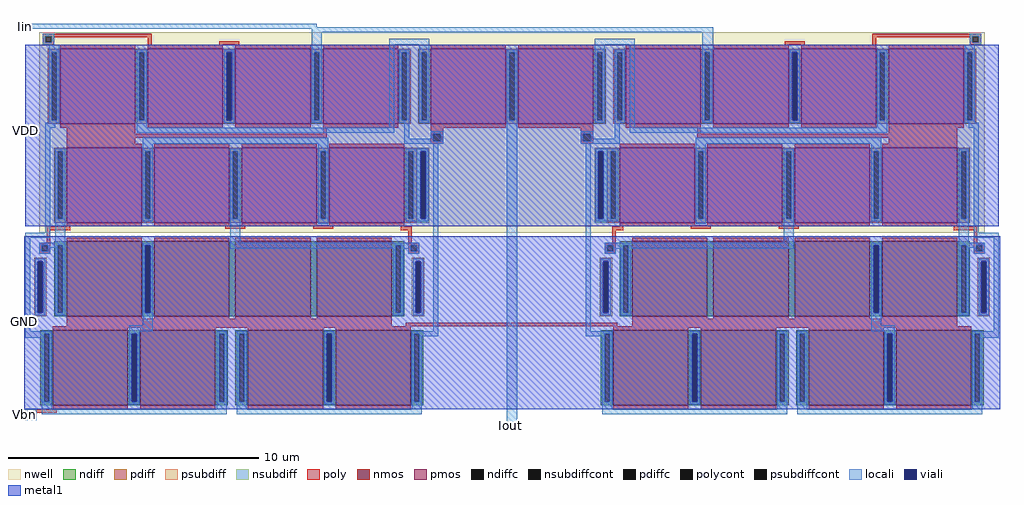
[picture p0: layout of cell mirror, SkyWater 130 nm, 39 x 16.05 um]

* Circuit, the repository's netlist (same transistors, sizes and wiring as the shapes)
* SPICE3 file created from mirror.ext - technology: sky130A

.subckt mirror Iin Iout Vbn VDD GND
X0 a_1220_n60# Vbn a_570_n60# GND sky130_fd_pr__nfet_01v8 ad=0.375 pd=3.25 as=0.375 ps=3.25 w=3 l=3
X1 a_n30_660# Vbn a_1220_n60# GND sky130_fd_pr__nfet_01v8 ad=1.5 pd=7 as=0.375 ps=3.25 w=3 l=3
X2 VDD a_n940_n770# a_n180_1480# VDD sky130_fd_pr__pfet_01v8 ad=0.75 pd=3.5 as=0.75 ps=3.5 w=3 l=3
X3 a_n30_660# a_n30_660# a_n130_690# VDD sky130_fd_pr__pfet_01v8 ad=0.75 pd=3.5 as=0.75 ps=3.5 w=3 l=3
X4 a_3740_1450# Vbn GND GND sky130_fd_pr__nfet_01v8 ad=1.5 pd=7 as=0.75 ps=3.5 w=3 l=3
X5 a_2880_1450# Vbn GND GND sky130_fd_pr__nfet_01v8 ad=1.5 pd=7 as=0.75 ps=3.5 w=3 l=3
X6 a_n130_690# a_n950_440# a_n950_440# VDD sky130_fd_pr__pfet_01v8 ad=0.75 pd=3.5 as=1.5 ps=7 w=3 l=3
X7 GND Vbn a_5040_n60# GND sky130_fd_pr__nfet_01v8 ad=0.75 pd=3.5 as=0.375 ps=3.25 w=3 l=3
X8 Iin a_3740_1450# a_2880_1450# VDD sky130_fd_pr__pfet_01v8 ad=0.75 pd=3.5 as=1.5 ps=7 w=3 l=3
X9 a_3570_440# a_3570_440# a_4290_690# VDD sky130_fd_pr__pfet_01v8 ad=0.75 pd=3.5 as=0.75 ps=3.5 w=3 l=3
X10 a_n940_n770# Vbn GND GND sky130_fd_pr__nfet_01v8 ad=1.5 pd=7 as=0.75 ps=3.5 w=3 l=3
X11 a_570_n60# Vbn GND GND sky130_fd_pr__nfet_01v8 ad=0.375 pd=3.25 as=0.75 ps=3.5 w=3 l=3
X12 GND Vbn a_n950_440# GND sky130_fd_pr__nfet_01v8 ad=0.75 pd=3.5 as=1.5 ps=7 w=3 l=3
X13 a_3480_1480# a_4440_1450# VDD VDD sky130_fd_pr__pfet_01v8 ad=0.75 pd=3.5 as=0.75 ps=3.5 w=3 l=3
X14 a_5040_n60# Vbn a_4390_n60# GND sky130_fd_pr__nfet_01v8 ad=0.375 pd=3.25 as=0.375 ps=3.25 w=3 l=3
X15 a_n130_690# a_n30_660# a_n30_660# VDD sky130_fd_pr__pfet_01v8 ad=0.75 pd=3.5 as=0.75 ps=3.5 w=3 l=3
X16 VDD a_n30_660# a_n130_690# VDD sky130_fd_pr__pfet_01v8 ad=1.5 pd=7 as=0.75 ps=3.5 w=3 l=3
X17 GND Vbn a_620_n770# GND sky130_fd_pr__nfet_01v8 ad=0.75 pd=3.5 as=1.5 ps=7 w=3 l=3
X18 GND Vbn a_2880_1450# GND sky130_fd_pr__nfet_01v8 ad=0.75 pd=3.5 as=1.5 ps=7 w=3 l=3
X19 GND Vbn a_4440_1450# GND sky130_fd_pr__nfet_01v8 ad=0.75 pd=3.5 as=1.5 ps=7 w=3 l=3
X20 a_n180_1480# a_n950_440# a_n940_n770# VDD sky130_fd_pr__pfet_01v8 ad=0.75 pd=3.5 as=1.5 ps=7 w=3 l=3
X21 Iout a_620_n770# a_n180_1480# VDD sky130_fd_pr__pfet_01v8 ad=0.75 pd=3.5 as=1.5 ps=7 w=3 l=3
X22 a_4390_n60# Vbn a_3570_440# GND sky130_fd_pr__nfet_01v8 ad=0.375 pd=3.25 as=1.5 ps=7 w=3 l=3
X23 GND Vbn a_n940_n770# GND sky130_fd_pr__nfet_01v8 ad=0.75 pd=3.5 as=1.5 ps=7 w=3 l=3
X24 a_4290_690# a_3570_440# VDD VDD sky130_fd_pr__pfet_01v8 ad=0.75 pd=3.5 as=1.5 ps=7 w=3 l=3
X25 Iin a_n940_n770# VDD VDD sky130_fd_pr__pfet_01v8 ad=0.75 pd=3.5 as=0.75 ps=3.5 w=3 l=3
X26 a_4440_1450# a_3740_1450# a_3480_1480# VDD sky130_fd_pr__pfet_01v8 ad=1.5 pd=7 as=0.75 ps=3.5 w=3 l=3
X27 a_620_n770# Vbn GND GND sky130_fd_pr__nfet_01v8 ad=1.5 pd=7 as=0.75 ps=3.5 w=3 l=3
X28 a_4440_1450# Vbn GND GND sky130_fd_pr__nfet_01v8 ad=1.5 pd=7 as=0.75 ps=3.5 w=3 l=3
X29 VDD a_4440_1450# Iin VDD sky130_fd_pr__pfet_01v8 ad=0.75 pd=3.5 as=0.75 ps=3.5 w=3 l=3
X30 a_3740_1450# a_3740_1450# a_4290_690# VDD sky130_fd_pr__pfet_01v8 ad=1.5 pd=7 as=0.75 ps=3.5 w=3 l=3
X31 a_3480_1480# a_2880_1450# Iout VDD sky130_fd_pr__pfet_01v8 ad=1.5 pd=7 as=0.75 ps=3.5 w=3 l=3
X32 a_4290_690# a_3570_440# a_3570_440# VDD sky130_fd_pr__pfet_01v8 ad=0.75 pd=3.5 as=0.75 ps=3.5 w=3 l=3
X33 a_620_n770# a_n950_440# Iin VDD sky130_fd_pr__pfet_01v8 ad=1.5 pd=7 as=0.75 ps=3.5 w=3 l=3
.ends

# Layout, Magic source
magic
tech sky130A
magscale 1 2
<< nwell >>
rect -950 610 6610 2210
<< nmos >>
rect -730 -60 -130 540
rect -30 -60 570 540
rect 620 -60 1220 540
rect 1270 -60 1870 540
rect 3790 -60 4390 540
rect 4440 -60 5040 540
rect 5090 -60 5690 540
rect 5790 -60 6390 540
rect -840 -770 -240 -170
rect -140 -770 460 -170
rect 720 -770 1320 -170
rect 1420 -770 2020 -170
rect 3640 -770 4240 -170
rect 4340 -770 4940 -170
rect 5200 -770 5800 -170
rect 5900 -770 6500 -170
<< pmos >>
rect -780 1480 -180 2080
rect -80 1480 520 2080
rect 620 1480 1220 2080
rect 1320 1480 1920 2080
rect 2180 1480 2780 2080
rect 2880 1480 3480 2080
rect 3740 1480 4340 2080
rect 4440 1480 5040 2080
rect 5140 1480 5740 2080
rect 5840 1480 6440 2080
rect -730 690 -130 1290
rect -30 690 570 1290
rect 670 690 1270 1290
rect 1370 690 1970 1290
rect 3690 690 4290 1290
rect 4390 690 4990 1290
rect 5090 690 5690 1290
rect 5790 690 6390 1290
<< ndiff >>
rect -830 510 -730 540
rect -830 -30 -800 510
rect -760 -30 -730 510
rect -830 -60 -730 -30
rect -130 510 -30 540
rect -130 -30 -100 510
rect -60 -30 -30 510
rect -130 -60 -30 -30
rect 570 -60 620 540
rect 1220 -60 1270 540
rect 1870 510 1970 540
rect 1870 -30 1900 510
rect 1940 -30 1970 510
rect 3690 510 3790 540
rect 1870 -60 1970 -30
rect 3690 -30 3720 510
rect 3760 -30 3790 510
rect 3690 -60 3790 -30
rect 4390 -60 4440 540
rect 5040 -60 5090 540
rect 5690 510 5790 540
rect 5690 -30 5720 510
rect 5760 -30 5790 510
rect 5690 -60 5790 -30
rect 6390 510 6490 540
rect 6390 -30 6420 510
rect 6460 -30 6490 510
rect 6390 -60 6490 -30
rect -940 -200 -840 -170
rect -940 -740 -910 -200
rect -870 -740 -840 -200
rect -940 -770 -840 -740
rect -240 -200 -140 -170
rect -240 -740 -210 -200
rect -170 -740 -140 -200
rect -240 -770 -140 -740
rect 460 -200 560 -170
rect 460 -740 490 -200
rect 530 -740 560 -200
rect 460 -770 560 -740
rect 620 -200 720 -170
rect 620 -740 650 -200
rect 690 -740 720 -200
rect 620 -770 720 -740
rect 1320 -200 1420 -170
rect 1320 -740 1350 -200
rect 1390 -740 1420 -200
rect 1320 -770 1420 -740
rect 2020 -200 2120 -170
rect 2020 -740 2050 -200
rect 2090 -740 2120 -200
rect 2020 -770 2120 -740
rect 3540 -200 3640 -170
rect 3540 -740 3570 -200
rect 3610 -740 3640 -200
rect 3540 -770 3640 -740
rect 4240 -200 4340 -170
rect 4240 -740 4270 -200
rect 4310 -740 4340 -200
rect 4240 -770 4340 -740
rect 4940 -200 5040 -170
rect 4940 -740 4970 -200
rect 5010 -740 5040 -200
rect 4940 -770 5040 -740
rect 5100 -200 5200 -170
rect 5100 -740 5130 -200
rect 5170 -740 5200 -200
rect 5100 -770 5200 -740
rect 5800 -200 5900 -170
rect 5800 -740 5830 -200
rect 5870 -740 5900 -200
rect 5800 -770 5900 -740
rect 6500 -200 6600 -170
rect 6500 -740 6530 -200
rect 6570 -740 6600 -200
rect 6500 -770 6600 -740
<< pdiff >>
rect -880 2050 -780 2080
rect -880 1510 -850 2050
rect -810 1510 -780 2050
rect -880 1480 -780 1510
rect -180 2050 -80 2080
rect -180 1510 -150 2050
rect -110 1510 -80 2050
rect -180 1480 -80 1510
rect 520 2050 620 2080
rect 520 1510 550 2050
rect 590 1510 620 2050
rect 520 1480 620 1510
rect 1220 2050 1320 2080
rect 1220 1510 1250 2050
rect 1290 1510 1320 2050
rect 1220 1480 1320 1510
rect 1920 2050 2020 2080
rect 1920 1510 1950 2050
rect 1990 1510 2020 2050
rect 1920 1480 2020 1510
rect 2080 2050 2180 2080
rect 2080 1510 2110 2050
rect 2150 1510 2180 2050
rect 2080 1480 2180 1510
rect 2780 2050 2880 2080
rect 2780 1510 2810 2050
rect 2850 1510 2880 2050
rect 2780 1480 2880 1510
rect 3480 2050 3580 2080
rect 3480 1510 3510 2050
rect 3550 1510 3580 2050
rect 3480 1480 3580 1510
rect 3640 2050 3740 2080
rect 3640 1510 3670 2050
rect 3710 1510 3740 2050
rect 3640 1480 3740 1510
rect 4340 2050 4440 2080
rect 4340 1510 4370 2050
rect 4410 1510 4440 2050
rect 4340 1480 4440 1510
rect 5040 2050 5140 2080
rect 5040 1510 5070 2050
rect 5110 1510 5140 2050
rect 5040 1480 5140 1510
rect 5740 2050 5840 2080
rect 5740 1510 5770 2050
rect 5810 1510 5840 2050
rect 5740 1480 5840 1510
rect 6440 2050 6540 2080
rect 6440 1510 6470 2050
rect 6510 1510 6540 2050
rect 6440 1480 6540 1510
rect -830 1260 -730 1290
rect -830 720 -800 1260
rect -760 720 -730 1260
rect -830 690 -730 720
rect -130 1260 -30 1290
rect -130 720 -100 1260
rect -60 720 -30 1260
rect -130 690 -30 720
rect 570 1260 670 1290
rect 570 720 600 1260
rect 640 720 670 1260
rect 570 690 670 720
rect 1270 1260 1370 1290
rect 1270 720 1300 1260
rect 1340 720 1370 1260
rect 1270 690 1370 720
rect 1970 1260 2070 1290
rect 1970 720 2000 1260
rect 2040 720 2070 1260
rect 1970 690 2070 720
rect 3590 1260 3690 1290
rect 3590 720 3620 1260
rect 3660 720 3690 1260
rect 3590 690 3690 720
rect 4290 1260 4390 1290
rect 4290 720 4320 1260
rect 4360 720 4390 1260
rect 4290 690 4390 720
rect 4990 1260 5090 1290
rect 4990 720 5020 1260
rect 5060 720 5090 1260
rect 4990 690 5090 720
rect 5690 1260 5790 1290
rect 5690 720 5720 1260
rect 5760 720 5790 1260
rect 5690 690 5790 720
rect 6390 1260 6490 1290
rect 6390 720 6420 1260
rect 6460 720 6490 1260
rect 6390 690 6490 720
<< ndiffc >>
rect -800 -30 -760 510
rect -100 -30 -60 510
rect 1900 -30 1940 510
rect 3720 -30 3760 510
rect 5720 -30 5760 510
rect 6420 -30 6460 510
rect -910 -740 -870 -200
rect -210 -740 -170 -200
rect 490 -740 530 -200
rect 650 -740 690 -200
rect 1350 -740 1390 -200
rect 2050 -740 2090 -200
rect 3570 -740 3610 -200
rect 4270 -740 4310 -200
rect 4970 -740 5010 -200
rect 5130 -740 5170 -200
rect 5830 -740 5870 -200
rect 6530 -740 6570 -200
<< pdiffc >>
rect -850 1510 -810 2050
rect -150 1510 -110 2050
rect 550 1510 590 2050
rect 1250 1510 1290 2050
rect 1950 1510 1990 2050
rect 2110 1510 2150 2050
rect 2810 1510 2850 2050
rect 3510 1510 3550 2050
rect 3670 1510 3710 2050
rect 4370 1510 4410 2050
rect 5070 1510 5110 2050
rect 5770 1510 5810 2050
rect 6470 1510 6510 2050
rect -800 720 -760 1260
rect -100 720 -60 1260
rect 600 720 640 1260
rect 1300 720 1340 1260
rect 2000 720 2040 1260
rect 3620 720 3660 1260
rect 4320 720 4360 1260
rect 5020 720 5060 1260
rect 5720 720 5760 1260
rect 6420 720 6460 1260
<< psubdiff >>
rect -990 380 -890 410
rect -990 -30 -960 380
rect -920 -30 -890 380
rect -990 -60 -890 -30
rect 2030 380 2130 410
rect 2030 -30 2060 380
rect 2100 -30 2130 380
rect 2030 -60 2130 -30
rect 3530 380 3630 410
rect 3530 -30 3560 380
rect 3600 -30 3630 380
rect 3530 -60 3630 -30
rect 6550 380 6650 410
rect 6550 -30 6580 380
rect 6620 -30 6650 380
rect 6550 -60 6650 -30
<< nsubdiff >>
rect 2070 1260 2170 1290
rect 2070 720 2100 1260
rect 2140 720 2170 1260
rect 2070 690 2170 720
rect 3490 1260 3590 1290
rect 3490 720 3520 1260
rect 3560 720 3590 1260
rect 3490 690 3590 720
<< psubdiffcont >>
rect -960 -30 -920 380
rect 2060 -30 2100 380
rect 3560 -30 3600 380
rect 6580 -30 6620 380
<< nsubdiffcont >>
rect 2100 720 2140 1260
rect 3520 720 3560 1260
<< poly >>
rect -920 2180 -50 2200
rect -920 2130 -900 2180
rect -850 2170 -50 2180
rect -850 2130 -830 2170
rect -920 2110 -830 2130
rect -80 2110 -50 2170
rect 5710 2180 6580 2200
rect 5710 2170 6510 2180
rect 490 2110 650 2140
rect 5010 2110 5170 2140
rect 5710 2110 5740 2170
rect 6490 2130 6510 2170
rect 6560 2130 6580 2180
rect 6490 2110 6580 2130
rect -780 2080 -180 2110
rect -80 2080 520 2110
rect 620 2080 1220 2110
rect 1320 2080 1920 2110
rect 2180 2080 2780 2110
rect 2880 2080 3480 2110
rect 3740 2080 4340 2110
rect 4440 2080 5040 2110
rect 5140 2080 5740 2110
rect 5840 2080 6440 2110
rect -780 1450 -180 1480
rect -80 1450 520 1480
rect 620 1450 1220 1480
rect 1320 1450 1920 1480
rect 2180 1450 2780 1480
rect 2880 1450 3480 1480
rect 3740 1450 4340 1480
rect 4440 1450 5040 1480
rect 5140 1450 5740 1480
rect 5840 1450 6440 1480
rect -730 1400 -180 1450
rect 1320 1400 1350 1450
rect -730 1370 1350 1400
rect 2180 1400 2280 1450
rect -730 1320 -180 1370
rect 2180 1340 2200 1400
rect 2260 1340 2280 1400
rect 2180 1320 2280 1340
rect 3380 1400 3480 1450
rect 3380 1340 3400 1400
rect 3460 1340 3480 1400
rect 4310 1400 4340 1450
rect 5840 1400 6390 1450
rect 4310 1370 6390 1400
rect 3380 1320 3480 1340
rect 5840 1320 6390 1370
rect -730 1290 -130 1320
rect -30 1290 570 1320
rect 670 1290 1270 1320
rect 1370 1290 1970 1320
rect 3690 1290 4290 1320
rect 4390 1290 4990 1320
rect 5090 1290 5690 1320
rect 5790 1290 6390 1320
rect -730 660 -130 690
rect -30 670 570 690
rect 670 670 1270 690
rect 1370 670 1970 690
rect -30 660 1970 670
rect 3690 670 4290 690
rect 4390 670 4990 690
rect 5090 670 5690 690
rect 3690 660 5690 670
rect 5790 660 6390 690
rect -890 630 -700 660
rect 540 640 700 660
rect 1240 640 1400 660
rect 1940 630 2030 660
rect -890 530 -860 630
rect -730 540 -130 570
rect -30 540 570 570
rect 620 540 1220 570
rect 1270 540 1870 570
rect -950 510 -860 530
rect -950 460 -930 510
rect -880 460 -860 510
rect -950 440 -860 460
rect 2000 530 2030 630
rect 3630 630 3720 660
rect 4260 640 4420 660
rect 4960 640 5120 660
rect 6360 630 6550 660
rect 3630 530 3660 630
rect 3790 540 4390 570
rect 4440 540 5040 570
rect 5090 540 5690 570
rect 5790 540 6390 570
rect 2000 510 2090 530
rect 2000 460 2020 510
rect 2070 460 2090 510
rect 2000 440 2090 460
rect 3570 510 3660 530
rect 3570 460 3590 510
rect 3640 460 3660 510
rect 3570 440 3660 460
rect 6520 530 6550 630
rect 6520 510 6610 530
rect 6520 460 6540 510
rect 6590 460 6610 510
rect 6520 440 6610 460
rect -730 -80 -130 -60
rect -30 -80 570 -60
rect 620 -80 1220 -60
rect 1270 -80 1870 -60
rect -730 -140 1870 -80
rect 3790 -80 4390 -60
rect 4440 -80 5040 -60
rect 5090 -80 5690 -60
rect 5790 -80 6390 -60
rect 1980 -140 3670 -110
rect 3790 -140 6390 -80
rect -840 -150 2020 -140
rect -840 -170 -240 -150
rect -140 -170 460 -150
rect 720 -170 1320 -150
rect 1420 -170 2020 -150
rect 3640 -150 6500 -140
rect 3640 -170 4240 -150
rect 4340 -170 4940 -150
rect 5200 -170 5800 -150
rect 5900 -170 6500 -150
rect -840 -800 -240 -770
rect -140 -800 460 -770
rect 720 -800 1320 -770
rect 1420 -800 2020 -770
rect 3640 -800 4240 -770
rect 4340 -800 4940 -770
rect 5200 -800 5800 -770
rect 5900 -800 6500 -770
rect -1060 -820 -810 -800
rect -1060 -870 -1040 -820
rect -990 -830 -810 -820
rect -990 -870 -970 -830
rect -1060 -890 -970 -870
<< polycont >>
rect -900 2130 -850 2180
rect 6510 2130 6560 2180
rect 2200 1340 2260 1400
rect 3400 1340 3460 1400
rect -930 460 -880 510
rect 2020 460 2070 510
rect 3590 460 3640 510
rect 6540 460 6590 510
rect -1040 -870 -990 -820
<< locali >>
rect -1060 2250 1270 2280
rect -1060 2240 4440 2250
rect 1230 2210 4440 2240
rect -920 2180 -830 2200
rect -920 2130 -900 2180
rect -850 2130 -830 2180
rect -920 2110 -830 2130
rect -870 2050 -790 2110
rect -870 1510 -850 2050
rect -810 1510 -790 2050
rect -870 1490 -790 1510
rect -170 2050 -90 2070
rect -170 1510 -150 2050
rect -110 1510 -90 2050
rect -900 1450 -820 1490
rect -170 1450 -90 1510
rect 530 2050 610 2070
rect 530 1510 550 2050
rect 590 1510 610 2050
rect 530 1490 610 1510
rect 1230 2050 1310 2210
rect 1230 1510 1250 2050
rect 1290 1510 1310 2050
rect 1230 1490 1310 1510
rect 1850 2110 2170 2160
rect 1850 1450 1890 2110
rect 1930 2050 2010 2070
rect 1930 1510 1950 2050
rect 1990 1510 2010 2050
rect 1930 1490 2010 1510
rect 2090 2050 2170 2110
rect 3490 2110 3810 2160
rect 2090 1510 2110 2050
rect 2150 1510 2170 2050
rect 2090 1490 2170 1510
rect 2790 2050 2870 2070
rect 2790 1510 2810 2050
rect 2850 1510 2870 2050
rect -900 610 -860 1450
rect -170 1410 1890 1450
rect -120 1321 1360 1370
rect -1060 570 -860 610
rect -820 1260 -740 1280
rect -820 720 -800 1260
rect -760 720 -740 1260
rect -1060 -180 -1020 570
rect -820 530 -740 720
rect -120 1260 -40 1321
rect -120 720 -100 1260
rect -60 720 -40 1260
rect -120 700 -40 720
rect 580 1260 660 1280
rect 580 720 600 1260
rect 640 720 660 1260
rect 580 530 660 720
rect 1280 1260 1360 1321
rect 1970 1360 2010 1490
rect 2180 1400 2280 1420
rect 2180 1360 2200 1400
rect 1970 1340 2200 1360
rect 2260 1340 2280 1400
rect 1970 1320 2280 1340
rect 1280 720 1300 1260
rect 1340 720 1360 1260
rect 1280 680 1360 720
rect 1980 1260 2160 1280
rect 1980 720 2000 1260
rect 2040 720 2100 1260
rect 2140 720 2160 1260
rect 1980 700 2160 720
rect -950 510 -740 530
rect -950 460 -930 510
rect -880 490 -800 510
rect -880 460 -860 490
rect -950 440 -860 460
rect -980 380 -900 400
rect -980 -30 -960 380
rect -920 -30 -900 380
rect -980 -50 -900 -30
rect -820 -30 -800 490
rect -760 -30 -740 510
rect -820 -50 -740 -30
rect -120 510 -40 530
rect -120 -30 -100 510
rect -60 -30 -40 510
rect 580 510 2090 530
rect 580 480 1900 510
rect -120 -130 -40 -30
rect 1880 -30 1900 480
rect 1940 480 2020 510
rect 1940 -30 1960 480
rect 2000 460 2020 480
rect 2070 460 2090 510
rect 2000 440 2090 460
rect 1880 -50 1960 -30
rect 2040 380 2120 400
rect 2040 -30 2060 380
rect 2100 -30 2120 380
rect 2040 -50 2120 -30
rect -230 -180 -40 -130
rect 2200 -180 2240 1320
rect -1060 -200 -850 -180
rect -1060 -230 -910 -200
rect -930 -740 -910 -230
rect -870 -740 -850 -200
rect -930 -800 -850 -740
rect -230 -200 -150 -180
rect -230 -740 -210 -200
rect -170 -740 -150 -200
rect -230 -760 -150 -740
rect 470 -200 550 -180
rect 470 -740 490 -200
rect 530 -740 550 -200
rect 470 -800 550 -740
rect -1070 -820 -970 -800
rect -1070 -870 -1040 -820
rect -990 -870 -970 -820
rect -930 -840 550 -800
rect 630 -200 710 -180
rect 630 -740 650 -200
rect 690 -740 710 -200
rect 630 -800 710 -740
rect 1330 -200 1410 -180
rect 1330 -740 1350 -200
rect 1390 -740 1410 -200
rect 1330 -760 1410 -740
rect 2030 -200 2240 -180
rect 2030 -740 2050 -200
rect 2090 -220 2240 -200
rect 2090 -740 2110 -220
rect 2030 -800 2110 -740
rect 630 -840 2110 -800
rect -1070 -890 -970 -870
rect 2790 -930 2870 1510
rect 3490 2050 3570 2110
rect 3490 1510 3510 2050
rect 3550 1510 3570 2050
rect 3490 1490 3570 1510
rect 3650 2050 3730 2070
rect 3650 1510 3670 2050
rect 3710 1510 3730 2050
rect 3650 1490 3730 1510
rect 3380 1400 3480 1420
rect 3380 1340 3400 1400
rect 3460 1360 3480 1400
rect 3650 1360 3690 1490
rect 3770 1450 3810 2110
rect 4350 2070 4440 2210
rect 6490 2180 6580 2200
rect 6490 2130 6510 2180
rect 6560 2130 6580 2180
rect 6490 2110 6580 2130
rect 4350 2050 4430 2070
rect 4350 1510 4370 2050
rect 4410 1510 4430 2050
rect 4350 1490 4430 1510
rect 5050 2050 5130 2070
rect 5050 1510 5070 2050
rect 5110 1510 5130 2050
rect 5050 1490 5130 1510
rect 5750 2050 5830 2070
rect 5750 1510 5770 2050
rect 5810 1510 5830 2050
rect 5750 1450 5830 1510
rect 6450 2050 6530 2110
rect 6450 1510 6470 2050
rect 6510 1510 6530 2050
rect 6450 1490 6530 1510
rect 6480 1450 6560 1490
rect 3770 1410 5830 1450
rect 3460 1340 3690 1360
rect 3380 1320 3690 1340
rect 4300 1321 5780 1370
rect 3420 -180 3460 1320
rect 3500 1260 3680 1280
rect 3500 720 3520 1260
rect 3560 720 3620 1260
rect 3660 720 3680 1260
rect 3500 700 3680 720
rect 4300 1260 4380 1321
rect 4300 720 4320 1260
rect 4360 720 4380 1260
rect 4300 680 4380 720
rect 5000 1260 5080 1280
rect 5000 720 5020 1260
rect 5060 720 5080 1260
rect 5000 530 5080 720
rect 5700 1260 5780 1321
rect 5700 720 5720 1260
rect 5760 720 5780 1260
rect 5700 700 5780 720
rect 6400 1260 6480 1280
rect 6400 720 6420 1260
rect 6460 720 6480 1260
rect 6400 530 6480 720
rect 6520 610 6560 1450
rect 6520 570 6720 610
rect 3570 510 5080 530
rect 3570 460 3590 510
rect 3640 480 3720 510
rect 3640 460 3660 480
rect 3570 440 3660 460
rect 3540 380 3620 400
rect 3540 -30 3560 380
rect 3600 -30 3620 380
rect 3540 -50 3620 -30
rect 3700 -30 3720 480
rect 3760 480 5080 510
rect 5700 510 5780 530
rect 3760 -30 3780 480
rect 3700 -50 3780 -30
rect 5700 -30 5720 510
rect 5760 -30 5780 510
rect 5700 -130 5780 -30
rect 6400 510 6610 530
rect 6400 -30 6420 510
rect 6460 490 6540 510
rect 6460 -30 6480 490
rect 6520 460 6540 490
rect 6590 460 6610 510
rect 6520 440 6610 460
rect 6400 -50 6480 -30
rect 6560 380 6640 400
rect 6560 -30 6580 380
rect 6620 -30 6640 380
rect 6560 -50 6640 -30
rect 5700 -180 5890 -130
rect 6680 -180 6720 570
rect 3420 -200 3630 -180
rect 3420 -220 3570 -200
rect 3550 -740 3570 -220
rect 3610 -740 3630 -200
rect 3550 -800 3630 -740
rect 4250 -200 4330 -180
rect 4250 -740 4270 -200
rect 4310 -740 4330 -200
rect 4250 -760 4330 -740
rect 4950 -200 5030 -180
rect 4950 -740 4970 -200
rect 5010 -740 5030 -200
rect 4950 -800 5030 -740
rect 3550 -840 5030 -800
rect 5110 -200 5190 -180
rect 5110 -740 5130 -200
rect 5170 -740 5190 -200
rect 5110 -800 5190 -740
rect 5810 -200 5890 -180
rect 5810 -740 5830 -200
rect 5870 -740 5890 -200
rect 5810 -760 5890 -740
rect 6510 -200 6720 -180
rect 6510 -740 6530 -200
rect 6570 -230 6720 -200
rect 6570 -740 6590 -230
rect 6510 -800 6590 -740
rect 5110 -840 6590 -800
<< viali >>
rect 550 1510 590 2050
rect 2100 720 2140 1260
rect -960 -30 -920 380
rect -100 -30 -60 510
rect 2060 -30 2100 380
rect -210 -740 -170 -200
rect 1350 -740 1390 -200
rect 5070 1510 5110 2050
rect 3520 720 3560 1260
rect 3560 -30 3600 380
rect 5720 -30 5760 510
rect 6580 -30 6620 380
rect 4270 -740 4310 -200
rect 5830 -740 5870 -200
<< metal1 >>
rect -1060 2050 6720 2110
rect -1060 1510 550 2050
rect 590 1510 5070 2050
rect 5110 1510 6720 2050
rect -1060 1260 6720 1510
rect -1060 720 2100 1260
rect 2140 720 3520 1260
rect 3560 720 6720 1260
rect -1060 660 6720 720
rect -1070 510 6730 580
rect -1070 380 -100 510
rect -1070 -30 -960 380
rect -920 -30 -100 380
rect -60 380 5720 510
rect -60 -30 2060 380
rect 2100 -30 3560 380
rect 3600 -30 5720 380
rect 5760 380 6730 510
rect 5760 -30 6580 380
rect 6620 -30 6730 380
rect -1070 -200 6730 -30
rect -1070 -740 -210 -200
rect -170 -740 1350 -200
rect 1390 -740 4270 -200
rect 4310 -740 5830 -200
rect 5870 -740 6730 -200
rect -1070 -800 6730 -740
<< labels >>
rlabel locali -1060 2260 -1060 2260 7 Iin
port 0 w
rlabel locali 2820 -930 2820 -930 5 Iout
port 1 s
rlabel locali -1070 -840 -1070 -840 7 Vbn
port 2 w
rlabel metal1 -1060 1430 -1060 1430 7 VDD
port 3 w
rlabel metal1 -1070 -100 -1070 -100 7 GND
port 4 w
<< end >>
